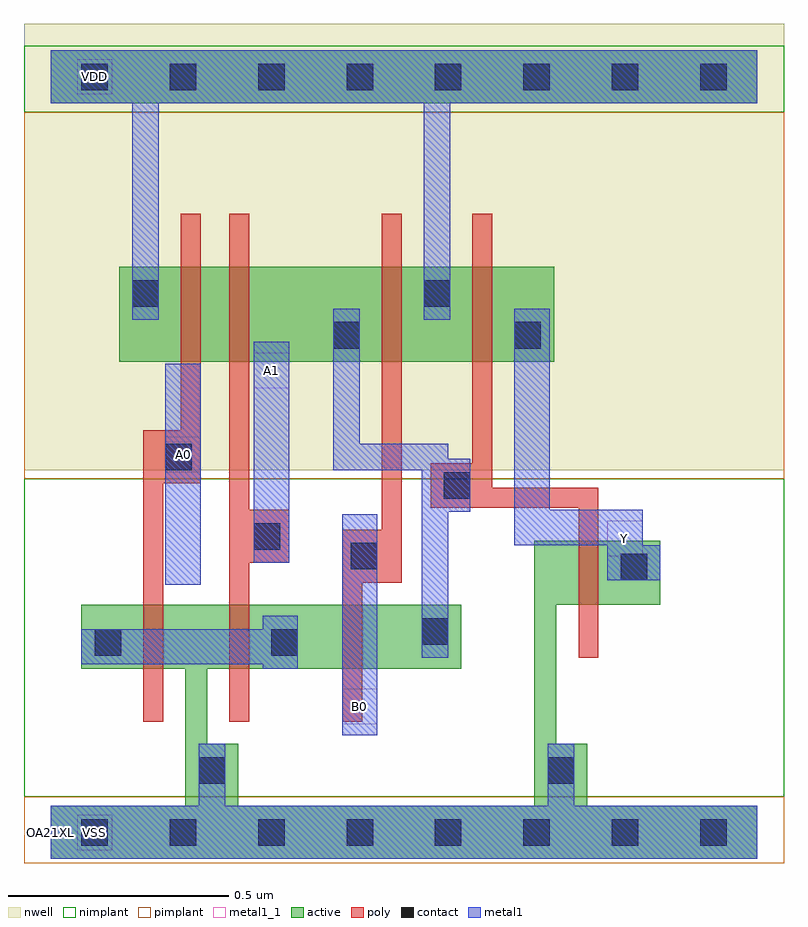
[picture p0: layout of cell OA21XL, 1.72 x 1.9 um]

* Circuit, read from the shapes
.subckt OA21XL A0 A1 B0 VDD VSS Y
M1 VSS A0 n1 VSS nfet w=0.145u l=0.045u
M2 n1 A1 VSS VSS nfet w=0.145u l=0.045u
M3 n2 B0 n1 VSS nfet w=0.145u l=0.045u
M4 Y n2 VSS VSS nfet w=0.145u l=0.045u
M5 n3 A0 VDD VDD pfet w=0.215u l=0.045u
M6 n2 A1 n3 VDD pfet w=0.215u l=0.045u
M7 VDD B0 n2 VDD pfet w=0.215u l=0.045u
M8 Y n2 VDD VDD pfet w=0.215u l=0.045u
.ends

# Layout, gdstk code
import gdstk
lib = gdstk.Library(unit=1e-6, precision=5e-10)
def R(c, l, rs):  # rectangles x0, y0, x1, y1
    for r in rs: c.add(gdstk.rectangle(r[:2], r[2:], *l))
def A(c, l, x, y, w, h, nx, ny, dx, dy):  # array of equal rectangles
    R(c, l, [(x+i*dx, y+j*dy, x+i*dx+w, y+j*dy+h) for i in range(nx) for j in range(ny)])
def P(c, l, *ps):  # polygons
    for p in ps: c.add(gdstk.Polygon(p, *l))
active = (1, 0)
nwell = (2, 0)
poly = (3, 0)
nimplant = (4, 0)
pimplant = (5, 0)
contact = (6, 0)
metal1 = (7, 0)
metal1_1 = (7, 1)

oa21xl = lib.new_cell('OA21XL')
R(oa21xl, active, [(0.155,1.065,1.14,1.28), (0,1.65,1.6,1.77)])
P(oa21xl, active, [(1.095,0.66),(1.38,0.66),(1.38,0.515),(1.145,0.515),(1.145,0.2),(1.215,0.2),(1.215,0.06),(1.6,0.06),(1.6,-0.06),(0,-0.06),(0,0.06),(0.305,0.06),(0.305,0.37),(0.07,0.37),(0.07,0.515),(0.93,0.515),(0.93,0.37),(0.355,0.37),(0.355,0.2),(0.425,0.2),(0.425,0.06),(1.095,0.06)])
R(oa21xl, nwell, [(-0.06,0.82,1.66,1.83)])
P(oa21xl, poly, [(0.295,1.4),(0.34,1.4),(0.34,0.79),(0.255,0.79),(0.255,0.25),(0.21,0.25),(0.21,0.91),(0.295,0.91)],
  [(0.405,1.4),(0.45,1.4),(0.45,0.73),(0.54,0.73),(0.54,0.61),(0.45,0.61),(0.45,0.25),(0.405,0.25)],
  [(0.75,1.4),(0.795,1.4),(0.795,0.565),(0.705,0.565),(0.705,0.25),(0.66,0.25),(0.66,0.685),(0.75,0.685)],
  [(0.955,1.4),(1,1.4),(1,0.78),(1.24,0.78),(1.24,0.395),(1.195,0.395),(1.195,0.735),(0.86,0.735),(0.86,0.835),(0.955,0.835)])
R(oa21xl, nimplant, [(-0.06,0.08,1.66,0.8), (-0.06,1.63,1.66,1.78)])
R(oa21xl, pimplant, [(-0.06,-0.07,1.66,0.08), (-0.06,0.8,1.66,1.63)])
A(oa21xl, contact, 0.07, -0.03, 0.06, 0.06, 8, 2, 0.2, 1.71)
R(oa21xl, contact, [(0.335,0.11,0.395,0.17), (1.125,0.11,1.185,0.17), (0.1,0.4,0.16,0.46), (0.5,0.4,0.56,0.46), (0.84,0.425,0.9,0.485), (1.29,0.57,1.35,0.63), (0.68,0.595,0.74,0.655), (0.46,0.64,0.52,0.7), (0.89,0.755,0.95,0.815), (0.26,0.82,0.32,0.88), (0.64,1.095,0.7,1.155), (1.05,1.095,1.11,1.155), (0.185,1.19,0.245,1.25), (0.845,1.19,0.905,1.25)])
R(oa21xl, metal1, [(0.66,0.22,0.74,0.72), (0.26,0.56,0.34,1.06), (0.46,0.61,0.54,1.11)])
P(oa21xl, metal1, [(0.335,0.2),(0.395,0.2),(0.395,0.06),(1.125,0.06),(1.125,0.2),(1.185,0.2),(1.185,0.06),(1.6,0.06),(1.6,-0.06),(0,-0.06),(0,0.06),(0.335,0.06)],
  [(0,1.77),(1.6,1.77),(1.6,1.65),(0.905,1.65),(0.905,1.16),(0.845,1.16),(0.845,1.65),(0.245,1.65),(0.245,1.16),(0.185,1.16),(0.185,1.65),(0,1.65)],
  [(0.64,1.185),(0.7,1.185),(0.7,0.88),(0.9,0.88),(0.9,0.845),(0.95,0.845),(0.95,0.725),(0.9,0.725),(0.9,0.395),(0.84,0.395),(0.84,0.82),(0.64,0.82)],
  [(1.05,1.185),(1.13,1.185),(1.13,0.73),(1.34,0.73),(1.34,0.65),(1.38,0.65),(1.38,0.57),(1.26,0.57),(1.26,0.65),(1.05,0.65)],
  [(0.48,0.49),(0.56,0.49),(0.56,0.37),(0.48,0.37),(0.48,0.38),(0.07,0.38),(0.07,0.46),(0.48,0.46)])
R(oa21xl, metal1_1, [(0.06,-0.04,0.14,0.04), (0.66,0.245,0.74,0.325), (1.26,0.625,1.34,0.705), (0.26,0.815,0.34,0.895), (0.46,1.005,0.54,1.085), (0.06,1.67,0.14,1.75)])
oa21xl.add(gdstk.Label('Y', (1.3,0.665), layer=7, texttype=1))
oa21xl.add(gdstk.Label('A0', (0.3,0.855), layer=7, texttype=1))
oa21xl.add(gdstk.Label('A1', (0.5,1.045), layer=7, texttype=1))
oa21xl.add(gdstk.Label('B0', (0.7,0.285), layer=7, texttype=1))
oa21xl.add(gdstk.Label('VDD', (0.1,1.71), layer=7, texttype=1))
oa21xl.add(gdstk.Label('VSS', (0.1,0), layer=7, texttype=1))
oa21xl.add(gdstk.Label('OA21XL', (0,0), layer=63, texttype=0))

lib.write_gds('OA21XL.gds')
